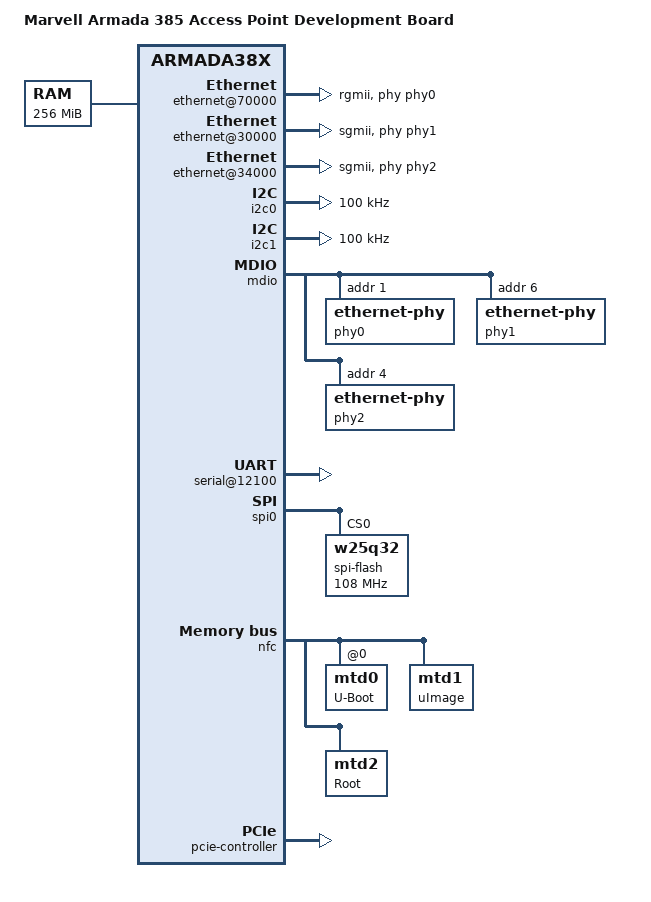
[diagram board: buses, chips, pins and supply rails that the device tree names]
/*
 * Device Tree file for Marvell Armada 385 Access Point Development board
 * (DB-88F6820-AP)
 *
 *  Copyright (C) 2014 Marvell
 *
 * Nadav Haklai <nadavh@marvell.com>
 *
 * This file is licensed under the terms of the GNU General Public
 * License version 2.  This program is licensed "as is" without any
 * warranty of any kind, whether express or implied.
 */

/dts-v1/;
#include "armada-385-388.dtsi"

/ {
	model = "Marvell Armada 385 Access Point Development Board";
	compatible = "marvell,a385-db-ap", "marvell,armada385", "marvell,armada38x";

	chosen {
		bootargs = "console=ttyS0,115200 earlyprintk";
	};

	memory {
		device_type = "memory";
		reg = <0x00000000 0x10000000>; /* 256 MB */
	};

	soc {
		ranges = <MBUS_ID(0xf0, 0x01) 0 0xf1000000 0x100000
			  MBUS_ID(0x01, 0x1d) 0 0xfff00000 0x100000
			  MBUS_ID(0x09, 0x19) 0 0xf1100000 0x10000	/* CESA0: PHYS=0xf1100000
									   size 64K */
			  MBUS_ID(0x09, 0x15) 0 0xf1110000 0x10000>;	/* CESA1: PHYS=0xf1110000
									   size 64K */

		internal-regs {
			ethernet@70000 {
				status = "okay";
				phy = <&phy0>;
				phy-mode = "rgmii";
			};

			ethernet@30000 {
				status = "okay";
				phy = <&phy1>;
				phy-mode = "sgmii";
			};

			ethernet@34000 {
				status = "okay";
				phy = <&phy2>;
				phy-mode = "sgmii";
			};

			i2c0: i2c@11000 {
				status = "okay";
				clock-frequency = <100000>;
			};

			i2c1: i2c@11100 {
				status = "okay";
				clock-frequency = <100000>;
			};

			mdio {
				phy0: ethernet-phy@0 {
					reg = <1>;
				};

				phy1: ethernet-phy@1 {
					reg = <6>;
				};

				phy2: ethernet-phy@2 {
					reg = <4>;
				};
			};

			serial@12100 {
				status = "okay";
			};

			spi0: spi@10600 {
				status = "okay";

				spi-flash@0 {
					#address-cells = <1>;
					#size-cells = <1>;
					compatible = "w25q32";
					reg = <0>; /* Chip select 0 */
					spi-max-frequency = <108000000>;
				};
			};

			nfc: nand@d0000 {
				status = "okay";
				#address-cells = <1>;
				#size-cells = <1>;

				nfc,nfc-mode  = "normal";	/* normal or ganged */
				nfc,nfc-dma   = <0>;		/* 0 for no, 1 for dma */
				nfc,nfc-width = <8>;
				nfc,ecc-type  = <1>;		/* 4 bit */
				nfc,num-cs    = <1>;

				mtd0@00000000 {
					label = "U-Boot";
					reg = <0x00000000 0x00600000>;
					read-only;
				};

				mtd1@00080000 {
					label = "uImage";
					reg = <0x00600000 0x00400000>;
					read-only;
				};

				mtd2@00140000 {
					label = "Root";
					reg = <0x00a00000 0x3f600000>;
				};
			};

			usb3@f8000 {
				status = "disabled";
			};

			crypto@9D000 {
				status = "okay";
			};
		};

		pcie-controller {
			status = "okay";
			/*
			 * The two PCIe units are accessible through
			 * standard PCIe slots on the board.
			 */
			pcie@1,0 {
				/* Port 0, Lane 0 */
				status = "okay";
			};
			pcie@2,0 {
				/* Port 1, Lane 0 */
				status = "okay";
			};
			pcie@3,0 {
				/* Port 2, Lane 0 */
				status = "okay";
			};
		};
	};
};
